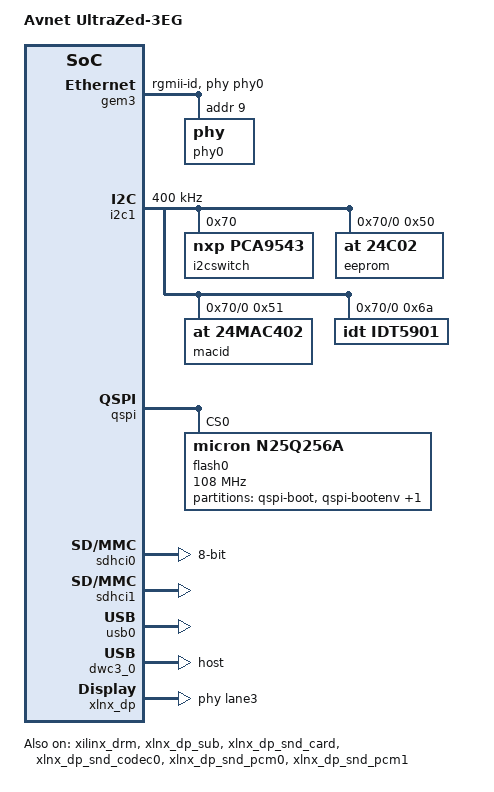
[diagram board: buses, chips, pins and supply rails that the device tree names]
/include/ "system-conf.dtsi"
#include <dt-bindings/phy/phy.h>

/ {
	model = "Avnet UltraZed-3EG";
	chosen {
		bootargs = "earlycon=cdns,mmio,0xFF000000,115200n8 root=/dev/mmcblk1p2 rw rootwait earlyprintk cma=512m";
	};

/* Stuff for using the R5 with remoteproc
 * Copied from Xilinx wiki: http://www.wiki.xilinx.com/OpenAMP+2017.3
 */
reserved-memory {
    #address-cells = <2>;
    #size-cells = <2>;
    ranges;
    rproc_0_reserved: rproc@3ed000000 {
        no-map;
        /* DDR memory reserved for RPU firmware.
         * If you want to use predefined shared memory,
         * you should also reserved them here.
         */
        reg = <0x0 0x3ed00000 0x0 0x1000000>;
    };
};

power-domains {
    /* For TCM memories, you will need specify the power domain
     * IDs. As APU will need to use the power domain ID to request
     * access through PMU FW.
     */
     pd_r5_0: pd_r5_0 {
        #power-domain-cells = <0x0>;
        pd-id = <0x7>;
      };
    pd_tcm_0_a: pd_tcm_0_a {
        #power-domain-cells = <0x0>;
        pd-id = <0xf>;
    };
    pd_tcm_0_b: pd_tcm_0_b {
        #power-domain-cells = <0x0>;
        pd-id = <0x10>;
    };

};

amba {
    /* You will need to specify the firmware memory as "mmio-sram". */
    r5_0_tcm_a: tcm@ffe00000 {
        compatible = "mmio-sram";
        reg = <0 0xFFE00000 0x0 0x10000>;
        pd-handle = <&pd_tcm_0_a>;
    };
    r5_0_tcm_b: tcm@ffe20000 {
        compatible = "mmio-sram";
        reg = <0 0xFFE20000 0x0 0x10000>;
        pd-handle = <&pd_tcm_0_b>;
    };

    /* DRAM reserved for executable
     * the address must match the reserved memory section above */
    elf_ddr_0: ddr@3ed00000 {
        compatible = "mmio-sram";
        reg = <0 0x3ed00000 0x0 0x100000>;
    };

    /* And finally the actual remoteproc entry */
    /* This is for 2017.2; note that there are some small (but critical)
     * changes in 2017.3 */
    test_r50: zynqmp_r5_rproc@0 {
        compatible = "xlnx,zynqmp-r5-remoteproc-1.0";
        reg = <0x0 0xff9a0100 0 0x100>, <0x0 0xff340000 0 0x100>, <0x0 0xff9a0000 0 0x100>;
        reg-names = "rpu_base", "ipi", "rpu_glbl_base";
        dma-ranges;
        core_conf = "split0";

        /* Specify the firmware memories here */
        sram_0 = <&r5_0_tcm_a>;
        sram_1 = <&r5_0_tcm_b>;
        sram_2 = <&elf_ddr_0>;
        pd-handle = <&pd_r5_0>;
        interrupt-parent = <&gic>;
        interrupts = <0 29 4>;
    } ;

	/* this is used to obtain phandle for dt overlay */
	dummy {
		ref = <&amba_pl>;
	};
};

/* END of R5 remoteproc stuff */

};
/* END of root node; everything below is a reference to something that already
 * exists in the tree. */


/* Ethernet config for production silicon */
&gem3 {
	status = "okay";
	local-mac-address = [00 0a 35 00 02 90];
	phy-mode = "rgmii-id";
	phy-handle = <&phy0>;
	phy0: phy@9 {
		reg = <0x9>;
		ti,rx-internal-delay = <0x5>;
		ti,tx-internal-delay = <0x5>;
		ti,fifo-depth = <0x1>;
	};
};

/* Ethernet for ES1 silicon */
//&gem3 {
//	status = "okay";
//	local-mac-address = [00 0a 35 00 02 90];
//	phy-mode = "rgmii-id";
//	phy-handle = <&phy0>;
//	phy0: phy@5 {
//		reg = <0x5>;
//		ti,rx-internal-delay = <0x5>;
//		ti,tx-internal-delay = <0x5>;
//		ti,fifo-depth = <0x1>;
//	};
//};

// Hard I2C controller and the DP clock generator connected to it
&i2c1 {
     status = "okay";
     clock-frequency = <400000>;
     i2cswitch@70 { /* u7 */
           compatible = "nxp,pca9543";
           #address-cells = <1>;
           #size-cells = <0>;
           reg = <0x70>;
           i2c@0 { /* i2c mw 70 0 1 */
                #address-cells = <1>;
                #size-cells = <0>;
                reg = <0>;
// TODO: the other board has an eeprom@52 (U5 on IOCC)?
                eeprom: eeprom1@50 { /* 2048-bit (8-bit X 256) IIC_EEPROM - SOM U8 */
                     compatible = "at,24c02";
                     reg = <0x50>;
                };
                
                macid: eeprom2@51 { /* IIC_MAC_ID - IOCC U5 */
                     compatible = "at,24mac402";
                     reg = <0x51>;
                };

                idt5901: clock-generator@6a { /* IDT 5P49V5935 clock generator - IOCC U1 */
                     #clock-cells = <0>;
                     compatible = "idt,idt5901";
                     reg = <0x6a>;
                     input-freq = <25000000>;
                     clk-freq = <75000000>;
                     output-num = <4>;
                };
           };
           i2c@1 { /* i2c mw 70 0 2 */
                #address-cells = <1>;
                #size-cells = <0>;
                reg = <1>;
                /* SMBUS */
           };
     };
};

&qspi {
	#address-cells = <1>;
	#size-cells = <0>;
	status = "okay";
	flash0: flash@0 {
		compatible = "micron,n25q256a"; /* 32MB */
		#address-cells = <1>;
		#size-cells = <1>;
		reg = <0x0>;
		spi-tx-bus-width = <1>;
		spi-rx-bus-width = <4>; /* FIXME also DUAL configuration possible */
		spi-max-frequency = <108000000>; /* Based on DC1 spec */
		partition@qspi-boot { 
			label = "qspi-boot";
			reg = <0x0 0x780000>;
		};
		partition@qspi-bootenv { 
			label = "qspi-bootenv";
			reg = <0x780000 0x80000>;
		};
		partition@qspi-linux { 
			label = "qspi-linux";
			reg = <0x800000 0x3800000>;
		};
	};
};

/* SD0 eMMC, 8-bit wide data bus */
&sdhci0 {
	status = "okay";
	bus-width = <8>;
	clock-frequency = <199998006>;
	max-frequency = <50000000>;
};

/* SD1 with level shifter */
&sdhci1 {
	status = "okay";
	no-1-8-v;	/* for 1.0 silicon */
	xlnx,mio_bank = <1>;
	disable-wp;
};

/* ULPI SMSC USB3320 */
&usb0 {
	status = "okay";
};

&dwc3_0 {
	status = "okay";
	dr_mode = "host";
	phy-names = "usb3-phy";
};

/* DisplayPort Configuration */
&xilinx_drm {
	status = "okay";
	clocks = <&idt5901>;
	xlnx,vid-clk-pl;
	planes {
		xlnx,pixel-format = "argb8888";
	};
};

&xlnx_dp {
	status = "okay";
	phy-names = "dp-phy0", "dp-phy1";
	phys = <&lane3 PHY_TYPE_DP 0 3 27000000>;
};
/* For IOCC:
&xlnx_dp {
	status = "okay";
	phy-names = "dp-phy0", "dp-phy1";
	phys = <&lane3 PHY_TYPE_DP 0 3 27000000>, <&lane2 PHY_TYPE_DP 1 3 27000000>;
};
*/

&xlnx_dp_sub {
	status = "okay";
	xlnx,vid-clk-pl;
	xlnx,gfx-fmt = "argb8888";
};

&xlnx_dp_snd_card {
	status = "okay";
};

&xlnx_dp_snd_codec0 {
	status = "okay";
};

&xlnx_dp_snd_pcm0 {
	status = "okay";
};

&xlnx_dp_snd_pcm1 {
	status = "okay";
};

&xlnx_dpdma {
	status = "okay";
};
/* END DisplayPort config */

/* Turn all the fabric clocks on, because petalinux tries to turn them off
 * to save power. */
&clkc {
  fclk-enable = <0xf>;
};

&fclk0 {
  status = "okay";
};

&fclk1 {
  status = "okay";
};

